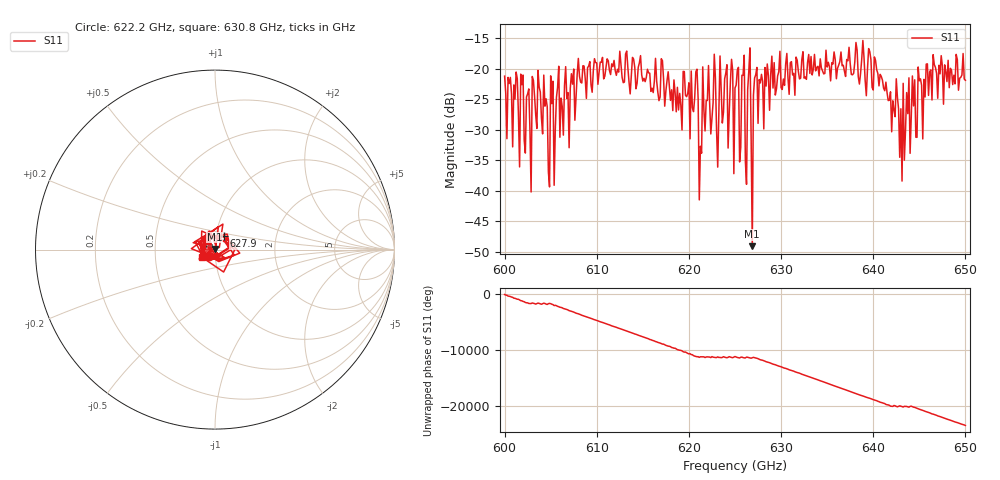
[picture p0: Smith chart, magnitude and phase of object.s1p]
!Created with skrf (http://scikit-rf.org).
# GHz S MA R 50.0
!freq magS11 angS11
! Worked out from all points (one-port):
!   401 points, 600 GHz to 650 GHz, reference 50 ohm
!   lowest |S11| = -49.1 dB at 626.9 GHz (marker M1), VSWR 1.01, Z = 49.9 + j0.341 ohm
!   |S11| at or under -10 dB: start of sweep to end of sweep
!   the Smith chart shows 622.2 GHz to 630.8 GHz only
!   S11 on the Smith chart (normalised r, x): 622.2 GHz: 0.93, -0.07; 627.9 GHz: 1.09, +0.16; 630.8 GHz: 0.86, -0.07
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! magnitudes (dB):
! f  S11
! 600 GHz  -21.2
! 602.6 GHz  -23.3
! 604.4 GHz  -26.1
! 604.6 GHz  -26.2
! 605.9 GHz  -19.6
! 606.2 GHz  -26.2
! 608.2 GHz  -22.2
! 612.5 GHz  -17.1
! 618.8 GHz  -23.0
! 620.8 GHz  -20.5
! 621.1 GHz  -41.5
! 621.4 GHz  -33.9
! 621.8 GHz  -30.2
! 622.2 GHz  -25.7
! 625 GHz  -23.1
! 626.9 GHz  -49.1
! 627 GHz  -24.3
! 627.2 GHz  -21.0
! 627.9 GHz  -20.9
! 630.8 GHz  -21.5
! 631.2 GHz  -21.0
! 637.5 GHz  -19.1
! 640.4 GHz  -20.1
! 642.5 GHz  -21.6
! 643.1 GHz  -38.4
! 643.8 GHz  -27.4
! 646 GHz  -24.4
! 650 GHz  -21.9
